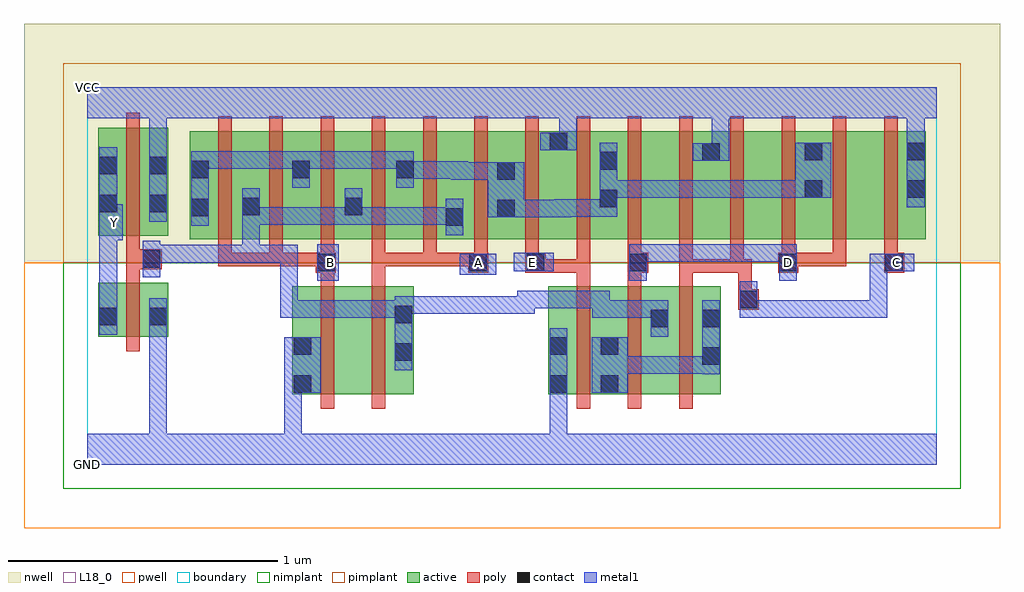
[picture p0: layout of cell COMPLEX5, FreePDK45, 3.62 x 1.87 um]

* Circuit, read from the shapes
.subckt COMPLEX5 A B C D E GND VCC Y
M1 GND n1 Y VSUBS nfet w=0.2u l=0.05u
M2 n2 B GND VSUBS nfet w=0.4u l=0.05u
M3 n1 A n2 VSUBS nfet w=0.4u l=0.05u
M4 n3 E GND VSUBS nfet w=0.4u l=0.05u
M5 n1 D n3 VSUBS nfet w=0.4u l=0.05u
M6 n3 C n1 VSUBS nfet w=0.4u l=0.05u
M7 VCC n1 Y n4 pfet w=0.4u l=0.05u
M8 n1 B n5 n4 pfet w=0.4u l=0.05u m=3
M9 n5 A n1 n4 pfet w=0.4u l=0.05u m=3
M10 VCC E n5 n4 pfet w=0.4u l=0.05u m=2
M11 n6 D n5 n4 pfet w=0.4u l=0.05u
M12 VCC C n6 n4 pfet w=0.4u l=0.05u
M13 n7 C VCC n4 pfet w=0.4u l=0.05u
M14 n5 D n7 n4 pfet w=0.4u l=0.05u
M15 n8 D n5 n4 pfet w=0.4u l=0.05u
M16 VCC C n8 n4 pfet w=0.4u l=0.05u
.ends

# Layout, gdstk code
import gdstk
lib = gdstk.Library(unit=1e-6, precision=1e-09)
def R(c, l, rs):  # rectangles x0, y0, x1, y1
    for r in rs: c.add(gdstk.rectangle(r[:2], r[2:], *l))
def A(c, l, x, y, w, h, nx, ny, dx, dy):  # array of equal rectangles
    R(c, l, [(x+i*dx, y+j*dy, x+i*dx+w, y+j*dy+h) for i in range(nx) for j in range(ny)])
active = (1, 0)
pwell = (2, 0)
nwell = (3, 0)
nimplant = (4, 0)
pimplant = (5, 0)
poly = (9, 0)
contact = (10, 0)
metal1 = (11, 0)
L18_0 = (18, 0)
boundary = (235, 0)

complex5 = lib.new_cell('COMPLEX5')
A(complex5, active, 0.57, 0.837, 0.26, 0.4, 3, 1, 0.57, 0)
A(complex5, active, 1.895, 0.837, 0.23, 0.4, 3, 1, 0.38, 0)
A(complex5, active, 2.125, 0.837, 0.225, 0.4, 3, 1, 0.38, 0)
R(complex5, active, [(0.76,0.262,0.985,0.662), (0.76,0.262,0.835,0.577), (0.985,0.262,1.21,0.662), (1.71,0.262,1.975,0.662), (1.71,0.262,1.785,0.662), (1.9,0.262,2.16,0.662), (1.9,0.262,1.975,0.492), (2.085,0.262,2.35,0.662), (1.135,0.295,1.21,0.662), (2.085,0.295,2.16,0.58), (2.275,0.295,2.35,0.662), (0.04,0.475,0.115,0.675), (0.04,0.475,0.3,0.675), (0.225,0.475,0.3,0.675), (0.38,0.837,0.645,1.237), (0.38,0.837,0.455,1.2), (0.57,0.837,0.645,1.07), (0.755,0.837,0.83,1.2), (0.755,0.837,1.025,1.237), (0.95,0.837,1.215,1.237), (0.95,0.837,1.025,1.07), (1.14,0.837,1.215,1.2), (1.325,0.837,1.59,1.237), (1.325,0.837,1.4,1.07), (1.515,0.837,1.59,1.2), (1.515,0.837,1.785,1.237), (1.71,0.837,1.785,1.237), (1.895,0.837,1.97,1.2), (2.275,0.837,2.35,1.237), (2.655,0.837,2.73,1.2), (3.035,0.837,3.11,1.237), (0.04,0.85,0.3,1.25), (0.04,0.85,0.115,1.2), (0.225,0.85,0.3,1.25)])
R(complex5, pwell, [(-0.235,-0.235,3.385,0.75)])
R(complex5, nwell, [(-0.235,0.75,3.385,1.635)])
R(complex5, nimplant, [(-0.09,-0.09,3.24,0.75)])
R(complex5, pimplant, [(-0.09,0.75,3.24,1.49)])
A(complex5, poly, 1.815, 0.207, 0.05, 0.51, 3, 1, 0.19, 0)
A(complex5, poly, 1.815, 0.667, 0.05, 0.095, 3, 1, 0.19, 0)
A(complex5, poly, 0.485, 0.737, 0.05, 0.095, 7, 1, 0.19, 0)
A(complex5, poly, 2.575, 0.737, 0.05, 0.095, 3, 1, 0.19, 0)
A(complex5, poly, 0.485, 0.782, 0.05, 0.51, 14, 1, 0.19, 0)
R(complex5, poly, [(0.865,0.207,0.915,0.717), (1.055,0.207,1.105,0.717), (0.145,0.42,0.195,0.73), (2.415,0.575,2.49,0.65), (2.415,0.6,2.465,0.762), (0.865,0.667,0.915,0.762), (1.055,0.667,1.105,0.787), (0.145,0.68,0.195,0.775), (0.847,0.712,0.922,0.787), (1.412,0.712,1.487,0.787), (1.625,0.712,1.7,0.787), (1.65,0.712,1.7,0.762), (1.65,0.712,1.7,0.762), (1.65,0.712,1.865,0.762), (1.815,0.712,1.865,0.762), (1.815,0.712,1.865,0.832), (2.005,0.712,2.08,0.787), (2.195,0.712,2.245,0.762), (2.195,0.712,2.245,0.832), (2.195,0.712,2.435,0.762), (2.385,0.712,2.435,0.762), (2.385,0.712,2.435,0.762), (2.385,0.712,2.435,0.762), (2.385,0.712,2.435,0.762), (2.385,0.712,2.435,0.832), (2.385,0.712,2.465,0.762), (2.562,0.712,2.637,0.787), (2.955,0.712,3.03,0.787), (0.145,0.725,0.275,0.8), (0.485,0.737,0.535,0.787), (0.485,0.737,0.535,0.787), (0.485,0.737,0.535,0.787), (0.485,0.737,0.725,0.787), (0.675,0.737,0.725,0.787), (0.675,0.737,0.725,0.787), (0.675,0.737,0.725,0.787), (0.675,0.737,0.897,0.787), (1.055,0.737,1.105,0.787), (1.055,0.737,1.105,0.787), (1.055,0.737,1.105,0.787), (1.055,0.737,1.295,0.787), (1.245,0.737,1.295,0.787), (1.245,0.737,1.462,0.787), (1.412,0.737,1.462,0.787), (1.412,0.737,1.462,0.787), (2.005,0.737,2.055,0.832), (2.587,0.737,2.815,0.787), (2.765,0.737,2.815,0.787), (2.765,0.737,2.815,0.787), (2.765,0.737,2.815,0.787), (0.145,0.75,0.195,0.845), (0.145,0.795,0.195,1.305)])
R(complex5, contact, [(0.765,0.267,0.83,0.332), (1.715,0.267,1.78,0.332), (1.905,0.267,1.97,0.332), (2.28,0.37,2.345,0.435), (1.14,0.385,1.205,0.45), (0.765,0.407,0.83,0.472), (1.715,0.407,1.78,0.472), (1.905,0.407,1.97,0.472), (2.09,0.51,2.155,0.575), (2.28,0.51,2.345,0.575), (0.045,0.517,0.11,0.582), (0.23,0.517,0.295,0.582), (1.14,0.525,1.205,0.59), (2.42,0.58,2.485,0.645), (0.852,0.717,0.917,0.782), (1.417,0.717,1.482,0.782), (1.63,0.717,1.695,0.782), (2.01,0.717,2.075,0.782), (2.567,0.717,2.632,0.782), (2.96,0.717,3.025,0.782), (0.205,0.73,0.27,0.795), (1.33,0.887,1.395,0.952), (1.52,0.917,1.585,0.982), (0.385,0.922,0.45,0.987), (0.575,0.925,0.64,0.99), (0.955,0.925,1.02,0.99), (0.045,0.937,0.11,1.002), (0.23,0.937,0.295,1.002), (1.9,0.955,1.965,1.02), (2.66,0.99,2.725,1.055), (3.04,0.99,3.105,1.055), (1.52,1.057,1.585,1.122), (0.385,1.062,0.45,1.127), (0.76,1.062,0.825,1.127), (1.145,1.062,1.21,1.127), (0.045,1.077,0.11,1.142), (0.23,1.077,0.295,1.142), (1.9,1.095,1.965,1.16), (2.28,1.127,2.345,1.192), (2.66,1.13,2.725,1.195), (3.04,1.13,3.105,1.195), (1.715,1.167,1.78,1.232)])
R(complex5, metal1, [(0,0,3.15,0.115), (0.23,0.05,0.295,0.547), (0.73,0.05,0.795,0.115), (0.73,0.05,0.795,0.115), (0.73,0.05,0.795,0.332), (1.715,0.05,1.78,0.115), (1.715,0.05,1.78,0.115), (1.715,0.05,1.78,0.297), (1.715,0.232,1.78,0.507), (0.73,0.267,0.865,0.472), (1.87,0.267,2.005,0.472), (2.28,0.335,2.345,0.61), (1.94,0.337,2.005,0.402), (1.94,0.337,2.005,0.402), (1.94,0.337,2.142,0.402), (2.077,0.337,2.142,0.402), (2.077,0.337,2.257,0.402), (2.192,0.337,2.257,0.402), (2.192,0.337,2.345,0.402), (1.14,0.35,1.205,0.625), (2.09,0.475,2.155,0.61), (0.045,0.482,0.11,0.617), (0.23,0.482,0.295,0.547), (0.23,0.482,0.295,0.547), (0.23,0.482,0.295,0.547), (0.23,0.482,0.295,0.547), (0.23,0.482,0.295,0.547), (0.23,0.482,0.295,0.547), (0.23,0.482,0.295,0.617), (0.715,0.545,0.78,0.61), (0.715,0.545,0.78,0.61), (0.715,0.545,0.78,0.61), (0.715,0.545,1.067,0.61), (0.715,0.545,0.78,0.815), (1.002,0.545,1.067,0.61), (1.002,0.545,1.067,0.61), (1.002,0.545,1.067,0.61), (1.002,0.545,1.205,0.61), (1.872,0.545,1.937,0.61), (1.872,0.545,1.937,0.61), (1.872,0.545,2.155,0.61), (1.872,0.545,1.937,0.645), (2.42,0.545,2.485,0.68), (2.42,0.545,2.532,0.61), (2.467,0.545,2.532,0.61), (2.467,0.545,2.532,0.61), (2.467,0.545,2.532,0.61), (2.467,0.545,2.69,0.61), (2.625,0.545,2.69,0.61), (2.625,0.545,2.827,0.61), (2.762,0.545,2.827,0.61), (2.762,0.545,2.827,0.61), (2.762,0.545,2.827,0.61), (2.762,0.545,2.967,0.61), (2.902,0.545,2.967,0.782), (2.902,0.545,2.967,0.61), (0.045,0.552,0.11,0.897), (1.14,0.56,1.205,0.625), (1.14,0.56,1.205,0.625), (1.14,0.56,1.412,0.625), (1.347,0.56,1.412,0.625), (1.347,0.56,1.412,0.625), (1.347,0.56,1.412,0.625), (1.347,0.56,1.567,0.625), (1.502,0.56,1.567,0.625), (1.502,0.56,1.66,0.625), (1.595,0.56,1.66,0.645), (1.595,0.58,1.797,0.645), (1.732,0.58,1.797,0.645), (1.732,0.58,1.797,0.645), (1.732,0.58,1.797,0.645), (1.732,0.58,1.937,0.645), (0.852,0.682,0.932,0.817), (2.01,0.682,2.075,0.817), (2.567,0.682,2.632,0.817), (0.205,0.695,0.27,0.83), (1.382,0.705,1.517,0.782), (1.582,0.717,1.73,0.787), (2.902,0.717,2.99,0.782), (2.902,0.717,2.967,0.782), (2.925,0.717,3.067,0.782), (0.205,0.75,0.27,0.815), (0.205,0.75,0.27,0.815), (0.205,0.75,0.432,0.815), (0.367,0.75,0.432,0.815), (0.367,0.75,0.432,0.815), (0.367,0.75,0.432,0.815), (0.367,0.75,0.64,0.815), (0.575,0.75,0.64,0.815), (0.575,0.75,0.64,0.815), (0.575,0.75,0.64,0.815), (0.575,0.75,0.78,0.815), (0.575,0.75,0.64,0.955), (0.715,0.75,0.78,0.815), (2.01,0.752,2.142,0.817), (2.077,0.752,2.142,0.817), (2.077,0.752,2.212,0.817), (2.147,0.752,2.212,0.817), (2.147,0.752,2.31,0.817), (2.245,0.752,2.31,0.817), (2.245,0.752,2.495,0.817), (2.43,0.752,2.495,0.817), (2.43,0.752,2.532,0.817), (2.467,0.752,2.532,0.817), (2.467,0.752,2.632,0.817), (0.045,0.832,0.132,0.967), (1.33,0.852,1.395,0.987), (0.385,0.887,0.45,1.162), (0.575,0.89,0.64,0.955), (0.575,0.89,0.64,0.955), (0.575,0.89,0.777,0.955), (0.575,0.89,0.64,1.025), (0.712,0.89,0.777,0.955), (0.712,0.89,0.777,0.955), (0.712,0.89,0.777,0.955), (0.712,0.89,1.02,0.955), (0.955,0.89,1.02,1.025), (0.955,0.89,1.067,0.955), (1.002,0.89,1.067,0.955), (1.002,0.89,1.205,0.955), (1.14,0.89,1.205,0.955), (1.14,0.89,1.205,0.955), (1.14,0.89,1.205,0.955), (1.14,0.89,1.395,0.955), (0.045,0.902,0.11,1.177), (0.045,0.902,0.11,0.967), (0.23,0.902,0.295,1.177), (1.485,0.917,1.62,1.122), (1.542,0.917,1.607,0.982), (1.542,0.917,1.607,0.982), (1.542,0.917,1.607,0.982), (1.542,0.917,1.607,0.982), (1.542,0.917,1.797,0.982), (1.732,0.917,1.797,0.985), (1.732,0.92,1.797,0.985), (1.732,0.92,1.797,0.985), (1.732,0.92,1.965,0.985), (1.9,0.92,1.965,1.195), (3.04,0.955,3.105,1.23), (1.9,0.99,1.965,1.055), (1.9,0.99,1.965,1.055), (1.9,0.99,2.172,1.055), (2.107,0.99,2.172,1.055), (2.107,0.99,2.212,1.055), (2.147,0.99,2.212,1.055), (2.147,0.99,2.395,1.055), (2.33,0.99,2.395,1.055), (2.33,0.99,2.395,1.055), (2.33,0.99,2.395,1.055), (2.33,0.99,2.532,1.055), (2.467,0.99,2.532,1.055), (2.467,0.99,2.69,1.055), (2.625,0.99,2.69,1.055), (2.625,0.99,2.69,1.055), (2.625,0.99,2.76,1.195), (0.76,1.027,0.825,1.162), (1.145,1.027,1.21,1.162), (1.347,1.057,1.412,1.125), (1.347,1.057,1.55,1.122), (1.145,1.06,1.275,1.125), (1.21,1.06,1.275,1.125), (1.21,1.06,1.412,1.125), (1.347,1.06,1.412,1.125), (1.347,1.06,1.412,1.125), (0.385,1.097,0.45,1.162), (0.385,1.097,0.45,1.162), (0.385,1.097,0.587,1.162), (0.522,1.097,0.587,1.162), (0.522,1.097,0.587,1.162), (0.522,1.097,0.587,1.162), (0.522,1.097,0.825,1.162), (0.76,1.097,0.825,1.162), (0.76,1.097,0.825,1.162), (0.76,1.097,1.027,1.162), (0.962,1.097,1.027,1.162), (0.962,1.097,1.027,1.162), (0.962,1.097,1.027,1.162), (0.962,1.097,1.21,1.162), (0.23,1.112,0.295,1.35), (2.245,1.127,2.38,1.192), (2.315,1.127,2.38,1.35), (3.04,1.165,3.105,1.35), (1.68,1.167,1.815,1.232), (1.75,1.167,1.815,1.35), (0,1.285,3.15,1.4)])
R(complex5, L18_0, [(0,0,3.15,0.115), (0.23,0.05,0.295,0.547), (0.73,0.05,0.795,0.115), (0.73,0.05,0.795,0.115), (0.73,0.05,0.795,0.332), (1.715,0.05,1.78,0.115), (1.715,0.05,1.78,0.115), (1.715,0.05,1.78,0.297), (1.715,0.232,1.78,0.507), (0.73,0.267,0.865,0.472), (0.045,0.482,0.11,0.617), (0.23,0.482,0.295,0.617), (0.23,0.482,0.295,0.547), (0.23,0.482,0.295,0.547), (0.23,0.482,0.295,0.547), (0.23,0.482,0.295,0.547), (0.23,0.482,0.295,0.547), (0.23,0.482,0.295,0.547), (2.42,0.545,2.485,0.68), (2.42,0.545,2.532,0.61), (2.467,0.545,2.532,0.61), (2.467,0.545,2.532,0.61), (2.467,0.545,2.532,0.61), (2.467,0.545,2.69,0.61), (2.625,0.545,2.69,0.61), (2.625,0.545,2.827,0.61), (2.762,0.545,2.827,0.61), (2.762,0.545,2.827,0.61), (2.762,0.545,2.827,0.61), (2.762,0.545,2.967,0.61), (2.902,0.545,2.967,0.61), (2.902,0.545,2.967,0.782), (0.045,0.552,0.11,0.897), (0.852,0.682,0.932,0.817), (2.01,0.682,2.075,0.817), (2.567,0.682,2.632,0.817), (1.382,0.705,1.517,0.782), (0.867,0.717,0.932,0.782), (1.417,0.717,1.482,0.782), (1.582,0.717,1.73,0.787), (1.617,0.717,1.682,0.782), (2.567,0.717,2.632,0.782), (2.902,0.717,2.967,0.782), (2.902,0.717,2.99,0.782), (2.925,0.717,3.067,0.782), (2.967,0.717,3.032,0.782), (2.01,0.752,2.142,0.817), (2.077,0.752,2.142,0.817), (2.077,0.752,2.212,0.817), (2.147,0.752,2.212,0.817), (2.147,0.752,2.31,0.817), (2.245,0.752,2.31,0.817), (2.245,0.752,2.495,0.817), (2.43,0.752,2.495,0.817), (2.43,0.752,2.532,0.817), (2.467,0.752,2.532,0.817), (2.467,0.752,2.632,0.817), (0.045,0.832,0.132,0.967), (0.067,0.867,0.132,0.932), (0.045,0.902,0.11,1.177), (0.045,0.902,0.11,0.967), (0.23,0.902,0.295,1.177), (3.04,0.955,3.105,1.23), (0.23,1.112,0.295,1.35), (2.245,1.127,2.38,1.192), (2.315,1.127,2.38,1.35), (3.04,1.165,3.105,1.35), (1.68,1.167,1.815,1.232), (1.75,1.167,1.815,1.35), (0,1.285,3.15,1.4)])
R(complex5, boundary, [(0,0,3.15,1.4)])
complex5.add(gdstk.Label('A', (1.45,0.75), layer=11, texttype=0))
complex5.add(gdstk.Label('B', (0.9,0.75), layer=11, texttype=0))
complex5.add(gdstk.Label('C', (3,0.75), layer=11, texttype=0))
complex5.add(gdstk.Label('D', (2.6,0.75), layer=11, texttype=0))
complex5.add(gdstk.Label('E', (1.65,0.75), layer=11, texttype=0))
complex5.add(gdstk.Label('Y', (0.1,0.9), layer=11, texttype=0))
complex5.add(gdstk.Label('VCC', (0,1.4), layer=11, texttype=0))
complex5.add(gdstk.Label('GND', (0,0), layer=11, texttype=0))

lib.write_gds('COMPLEX5.gds')
